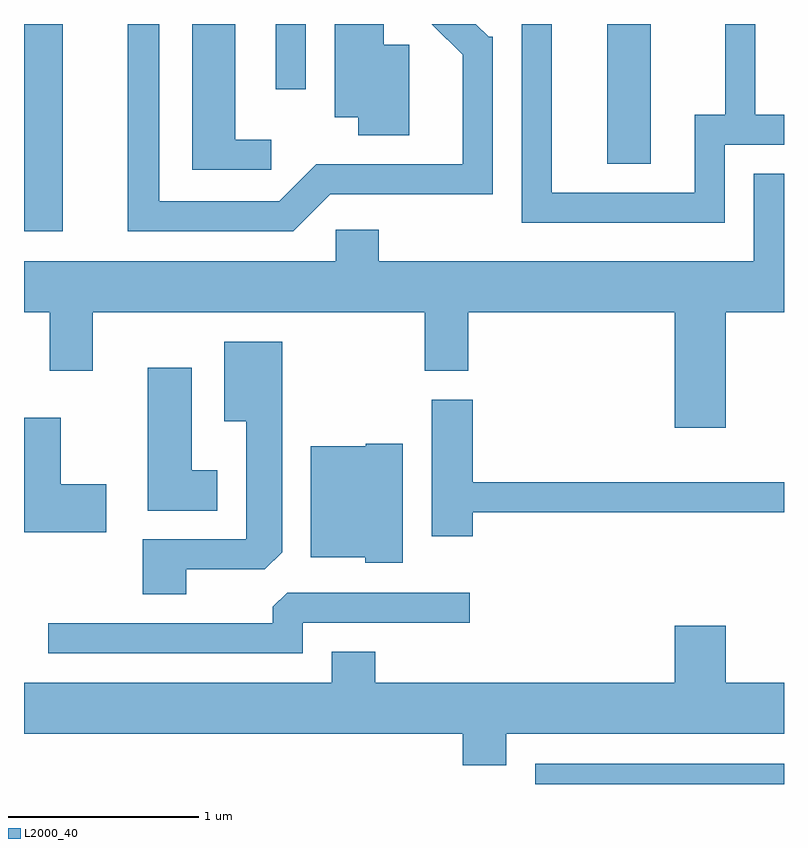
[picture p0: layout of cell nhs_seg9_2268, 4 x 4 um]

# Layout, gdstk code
import gdstk
lib = gdstk.Library(unit=1e-6, precision=1e-09)
def R(c, l, rs):  # rectangles x0, y0, x1, y1
    for r in rs: c.add(gdstk.rectangle(r[:2], r[2:], *l))
def P(c, l, *ps):  # polygons
    for p in ps: c.add(gdstk.Polygon(p, *l))
L2000_40 = (2000, 40)

nhs_seg9_2268 = lib.new_cell('nhs_seg9_2268')
R(nhs_seg9_2268, L2000_40, [(254.301,2000.432,255.611,2000.539), (251.611,2003.341,251.814,2004.432), (254.681,2003.696,254.909,2004.432), (252.936,2004.088,253.094,2004.432)])
P(nhs_seg9_2268, L2000_40, [(253.639,2004.324),(253.504,2004.324),(253.504,2004.432),(253.246,2004.432),(253.246,2003.941),(253.371,2003.941),(253.371,2003.846),(253.639,2003.846)],
  [(255.299,2003.796),(255.611,2003.796),(255.611,2003.954),(255.459,2003.954),(255.459,2004.432),(255.301,2004.432),(255.301,2003.954),(255.141,2003.954),(255.141,2003.544),(254.389,2003.544),(254.389,2004.432),(254.231,2004.432),(254.231,2003.386),(255.299,2003.386)],
  [(252.913,2003.824),(252.724,2003.824),(252.724,2004.432),(252.496,2004.432),(252.496,2003.666),(252.913,2003.666)],
  [(253.222,2003.536),(254.079,2003.536),(254.079,2004.364),(254.057,2004.364),(253.989,2004.432),(253.758,2004.432),(253.921,2004.269),(253.921,2003.694),(253.149,2003.694),(252.954,2003.499),(252.324,2003.499),(252.324,2004.432),(252.156,2004.432),(252.156,2003.341),(253.027,2003.341)],
  [(255.304,2002.916),(255.611,2002.916),(255.611,2003.644),(255.451,2003.644),(255.451,2003.184),(253.479,2003.184),(253.479,2003.349),(253.251,2003.349),(253.251,2003.184),(251.611,2003.184),(251.611,2002.916),(251.746,2002.916),(251.746,2002.606),(251.974,2002.606),(251.974,2002.916),(253.721,2002.916),(253.721,2002.606),(253.949,2002.606),(253.949,2002.916),(255.036,2002.916),(255.036,2002.306),(255.304,2002.306)],
  [(252.464,2001.561),(252.879,2001.561),(252.969,2001.652),(252.969,2002.759),(252.666,2002.759),(252.666,2002.341),(252.781,2002.341),(252.781,2001.719),(252.236,2001.719),(252.236,2001.431),(252.464,2001.431)],
  [(252.629,2002.084),(252.494,2002.084),(252.494,2002.624),(252.261,2002.624),(252.261,2001.871),(252.629,2001.871)],
  [(253.974,2001.861),(255.611,2001.861),(255.611,2002.019),(253.974,2002.019),(253.974,2002.454),(253.756,2002.454),(253.756,2001.736),(253.974,2001.736)],
  [(252.044,2002.009),(251.804,2002.009),(251.804,2002.359),(251.611,2002.359),(251.611,2001.756),(252.044,2001.756)],
  [(253.604,2002.224),(253.41,2002.224),(253.41,2002.209),(253.121,2002.209),(253.121,2001.626),(253.406,2001.626),(253.406,2001.596),(253.604,2001.596)],
  [(253.079,2001.281),(253.958,2001.281),(253.958,2001.439),(252.997,2001.439),(252.921,2001.364),(252.921,2001.279),(251.738,2001.279),(251.738,2001.121),(253.079,2001.121)],
  [(254.149,2000.696),(255.611,2000.696),(255.611,2000.964),(255.304,2000.964),(255.304,2001.264),(255.036,2001.264),(255.036,2000.964),(253.459,2000.964),(253.459,2001.129),(253.231,2001.129),(253.231,2000.964),(251.611,2000.964),(251.611,2000.696),(253.921,2000.696),(253.921,2000.531),(254.149,2000.531)])

lib.write_gds('nhs_seg9_2268.gds')
